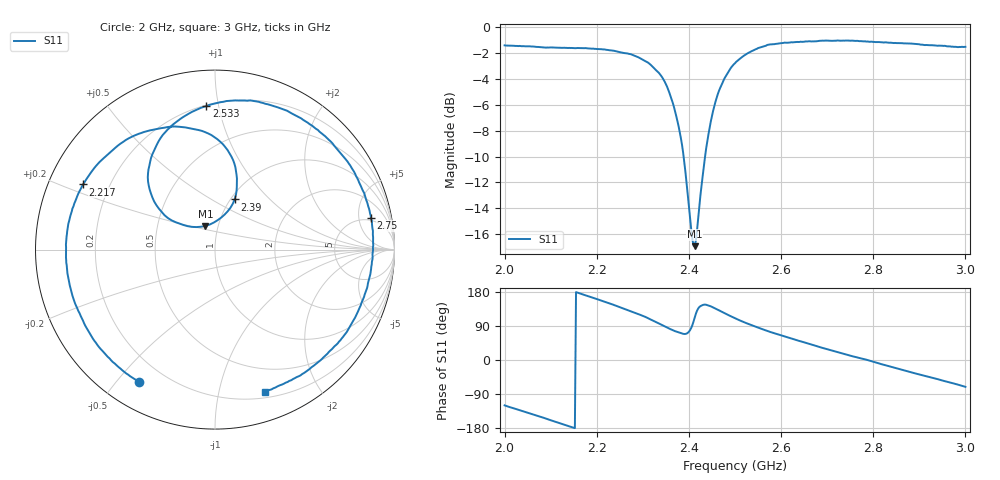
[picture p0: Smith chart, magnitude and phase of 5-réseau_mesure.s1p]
! ZVRE, 3.52
! symbol freq-unit parameter-type data-format keyword impedance-ohm
#  HZ  S  RI  R  50
! freq  reS11  imS11
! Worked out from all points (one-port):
!   401 points, 2 GHz to 3 GHz, reference 50 ohm
!   lowest |S11| = -16.9 dB at 2.413 GHz (marker M1), VSWR 1.33, Z = 43.5 + j11.7 ohm
!   |S11| at or under -10 dB: 2.388 GHz to 2.435 GHz (46.57 MHz wide, 1.93 % of centre)
!   S11 on the Smith chart (normalised r, x): 2 GHz: 0.11, -0.58; 2.217 GHz: 0.10, +0.23; 2.39 GHz: 1.04, +0.64; 2.533 GHz: 0.21, +0.92; 2.75 GHz: 4.40, +7.28; 3 GHz: 0.26, -1.38
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2e9  -0.4214 -0.7392
2.0625e9  -0.6801 -0.4965
2.125e9  -0.8165 -0.1605
2.1725e9  -0.8213 0.1169
2.2175e9  -0.7357 0.3629
2.25e9  -0.6101 0.5185
2.2825e9  -0.4387 0.6396
2.32e9  -0.1845 0.6828
2.3475e9  0.013 0.6152
2.375e9  0.1199 0.4173
2.39e9  0.1095 0.2797
2.405e9  0.0154 0.1645
2.4125e9  -0.0536 0.1318
2.4175e9  -0.1044 0.1254
2.4325e9  -0.241 0.1625
2.4425e9  -0.3121 0.2275
2.455e9  -0.3639 0.3347
2.475e9  -0.3566 0.5096
2.5e9  -0.2494 0.6815
2.5325e9  -0.0482 0.8006
2.575e9  0.2273 0.826
2.625e9  0.4917 0.7224
2.69e9  0.7534 0.469
2.75e9  0.8686 0.1772
2.8125e9  0.8655 -0.1369
2.875e9  0.7462 -0.4374
2.95e9  0.4968 -0.687
3e9  0.2758 -0.7933
